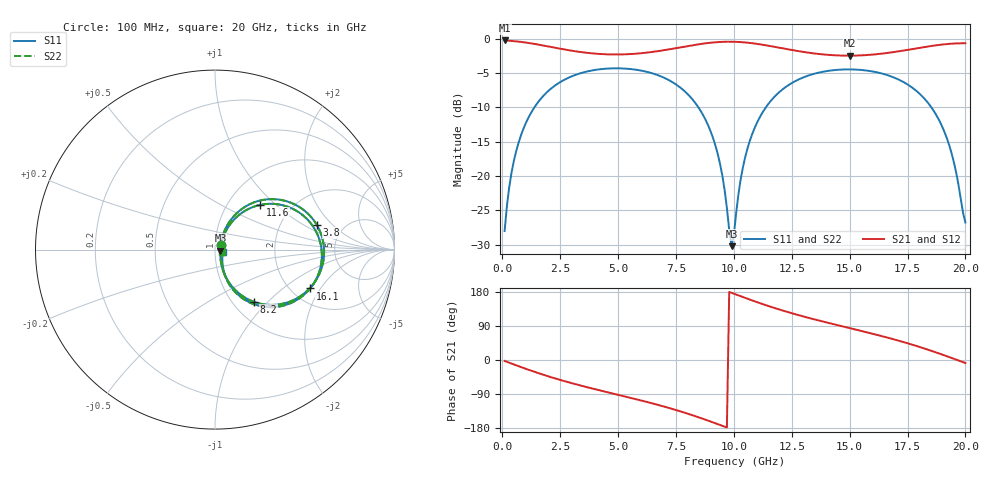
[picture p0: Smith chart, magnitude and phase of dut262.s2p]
! Touchstone file exported from HFSS 2026.1.0
!  File:  C:/ffzhzh/LocalFiles/Ansys_Project_Files/temp_train_TSV_RDL_262_1783069684_18316.aedt
!  Generated:  05:23:55 PM Jul  3, 2026
!  Design:  TSV_RDL
!  Project:  temp_train_TSV_RDL_262_1783069684_18316
! Variables:
!  h_bsmrdl = 2.77um
!  h_ox = 20um
!  h_rdl = 5um
!  h_sub = 60.25um
!  h_tmrdl = 4.31um
!  h_tsv = 60.25um
!  h_via = 3um
!  l_bsmrdl = 859.34um
!  l_sub = 6564.03um
!  l_tmrdl = 860.54um
!  m_sub = 200um
!  pitch = 58.78um
!  r_tsv = 4.39um
!  s_tmrdl = 10um
!  w_bsmrdl = 19.36um
!  w_sub = 500um
!  w_tmrdl = 28.59um
!  x_tsv_center1 = 874.835um
!  x_tsv_center2 = 1753.535um
!  x_tsv_center3 = 2642.665um
!  x_tsv_center4 = 3521.365um
!  x_tsv_center5 = 4410.495um
!  x_tsv_center6 = 5289.195um
# GHz S MA R 50.000000
! Terminal data exported
! Port[1] = TM_RDL1_1_T1
! Port[2] = TM_RDL5_1_T1
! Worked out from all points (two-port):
!   200 points, 100 MHz to 20 GHz, reference 50 ohm
!   highest |S21| = -0.26 dB at 100 MHz (marker M1); lowest = -2.5 dB at 15 GHz (marker M2)
!   |S21| within 3 dB of the highest: start of sweep to end of sweep
!   lowest |S11| = -30.2 dB at 9.9 GHz (marker M3), VSWR 1.06, Z = 53.1 - j0.548 ohm
!   |S11| at or under -10 dB: start of sweep to 1.388 GHz; 8.468 GHz to 11.38 GHz (2.916 GHz wide, 29.4 % of centre); 18.53 GHz to end of sweep
!   |S22| runs from -30.3 to -4.3 dB; largest |S21 - S12| = 2.5e-14
!   S11 on the Smith chart (normalised r, x): 100 MHz: 1.06, +0.05; 3.8 GHz: 3.19, +1.34; 8.2 GHz: 1.25, -0.84; 11.6 GHz: 1.40, +0.80; 16.1 GHz: 2.51, -1.62; 20 GHz: 1.09, -0.03
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0.1  0.0398 39.4  0.97 -2.4  0.97 -2.4  0.0398 39.4
! Gamma 0 0 0 0
! Port Impedance 50 0 50 0
0.5  0.129 63.4  0.9591 -11.7  0.9591 -11.7  0.129 63.4
1.1  0.26 57.5  0.9321 -25.0  0.9321 -25.0  0.26 57.5
2.2  0.4459 38.8  0.8632 -47.1  0.8632 -47.1  0.4459 38.8
3.5  0.5677 18.1  0.7942 -69.2  0.7942 -69.2  0.5678 18.1
3.8  0.5834 13.7  0.7838 -73.9  0.7838 -73.9  0.5834 13.7
5.3  0.6055 -7.7  0.7689 -96.3  0.7689 -96.3  0.6055 -7.7
6.8  0.5356 -29.8  0.8146 -119.7  0.8146 -119.7  0.5357 -29.9
8.2  0.3634 -53.2  0.8939 -145.5  0.8939 -145.5  0.3635 -53.3
9.3  0.1457 -68.9  0.9435 -169.1  0.9435 -169.1  0.1457 -69.1
9.6  0.07953 -64.9  0.949 -175.9  0.949 -175.9  0.07945 -65.2
9.9  0.03089 -9.6  0.9499 177.2  0.9499 177.2  0.03051 -9.8
10.1  0.05383 46.4  0.9478 172.7  0.9478 172.7  0.05354 46.6
10.6  0.1611 59.3  0.9342 161.4  0.9342 161.4  0.1609 59.3
11.6  0.3531 44.8  0.8815 140.3  0.8815 140.3  0.353 44.8
13.4  0.5509 15.9  0.7829 108.4  0.7829 108.4  0.5509 15.9
15  0.5972 -6.8  0.7519 84.2  0.7519 84.2  0.5972 -6.8
16.1  0.5724 -22.2  0.7684 67.6  0.7684 67.6  0.5724 -22.3
16.7  0.5379 -31.0  0.7895 58.0  0.7895 58.0  0.5379 -31.2
18.9  0.2481 -65.2  0.902 16.5  0.902 16.5  0.248 -65.7
19.5  0.1267 -67.5  0.9214 3.3  0.9214 3.3  0.1262 -68.4
20  0.0459 -17.4  0.926 -8.0  0.926 -8.0  0.04392 -18.1
